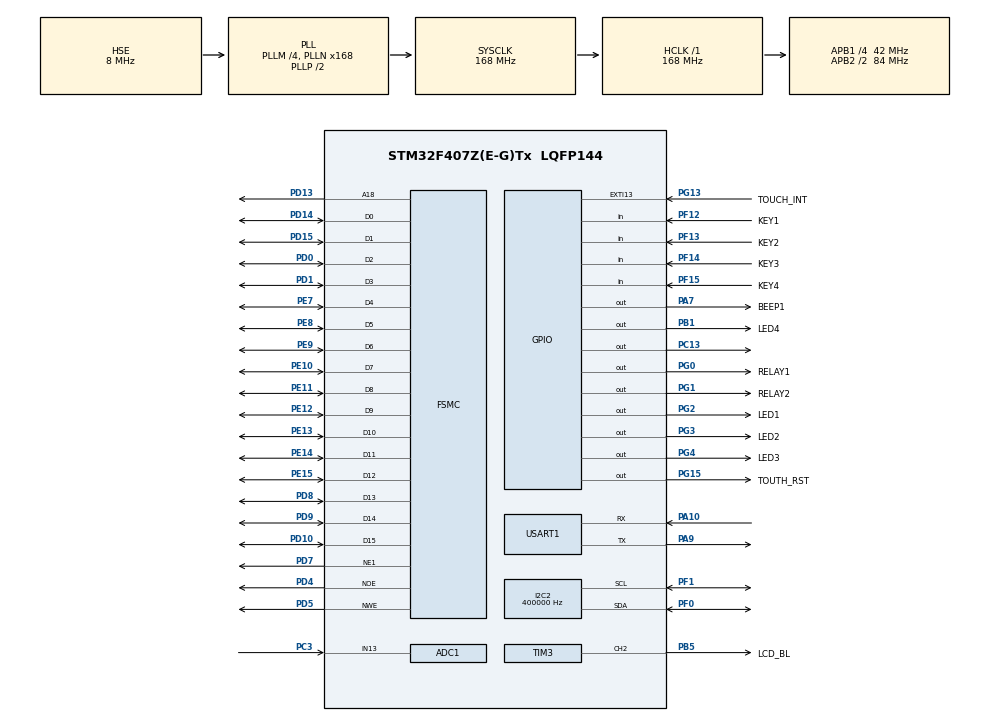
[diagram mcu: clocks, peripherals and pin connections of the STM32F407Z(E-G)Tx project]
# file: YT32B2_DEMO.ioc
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ADC1.Channel-0\#ChannelRegularConversion=ADC_CHANNEL_13
ADC1.NbrOfConversionFlag=1
ADC1.Rank-0\#ChannelRegularConversion=1
ADC1.SamplingTime-0\#ChannelRegularConversion=ADC_SAMPLETIME_3CYCLES
ADC1.master=1
Dma.Request0=USART1_RX
Dma.USART1_RX.0.Direction=DMA_PERIPH_TO_MEMORY
Dma.USART1_RX.0.FIFOMode=DMA_FIFOMODE_DISABLE
Dma.USART1_RX.0.Instance=DMA2_Stream2
Dma.USART1_RX.0.MemDataAlignment=DMA_MDATAALIGN_BYTE
Dma.USART1_RX.0.MemInc=DMA_MINC_ENABLE
Dma.USART1_RX.0.Mode=DMA_NORMAL
Dma.USART1_RX.0.PeriphDataAlignment=DMA_PDATAALIGN_BYTE
Dma.USART1_RX.0.PeriphInc=DMA_PINC_DISABLE
Dma.USART1_RX.0.Priority=DMA_PRIORITY_LOW
FSMC.BusTurnAroundDuration1=0
FSMC.DataSetupTime1=60
FSMC.ExtendedAddressSetupTime1=9
FSMC.ExtendedBusTurnAroundDuration1=0
FSMC.ExtendedDataSetupTime1=8
FSMC.ExtendedMode1=FSMC_EXTENDED_MODE_ENABLE
I2C2.ClockSpeed=400000
I2C2.I2C_Mode=I2C_Fast
Mcu.Family=STM32F4
Mcu.Name=STM32F407Z(E-G)Tx
Mcu.Package=LQFP144
NVIC.DMA2_Stream2_IRQn=true\:0\:0\:false\:false\:true\:false\:true\:true
NVIC.EXTI15_10_IRQn=true\:0\:0\:false\:false\:true\:true\:true\:true
NVIC.PriorityGroup=NVIC_PRIORITYGROUP_4
NVIC.TIM3_IRQn=true\:0\:0\:false\:false\:true\:true\:true\:true
NVIC.USART1_IRQn=true\:0\:0\:false\:false\:true\:true\:true\:true
PA10.Mode=Asynchronous
PA10.Signal=USART1_RX
PA7.GPIO_Label=BEEP1
PA7.GPIO_Speed=GPIO_SPEED_FREQ_VERY_HIGH
PA7.PinState=GPIO_PIN_SET
PA7.Signal=GPIO_Output
PA9.Mode=Asynchronous
PA9.Signal=USART1_TX
PB1.GPIO_Label=LED4
PB1.GPIO_PuPd=GPIO_PULLUP
PB1.GPIO_Speed=GPIO_SPEED_FREQ_VERY_HIGH
PB1.PinState=GPIO_PIN_SET
PB1.Signal=GPIO_Output
PB5.GPIO_Label=LCD_BL
PB5.Signal=S_TIM3_CH2
PC13-ANTI_TAMP.Signal=GPIO_Output
PC14-OSC32_IN.Mode=LSE-External-Oscillator
PC14-OSC32_IN.Signal=RCC_OSC32_IN
PC15-OSC32_OUT.Mode=LSE-External-Oscillator
PC15-OSC32_OUT.Signal=RCC_OSC32_OUT
PC3.Signal=ADCx_IN13
PD0.GPIO_PuPd=GPIO_PULLUP
PD0.Signal=FSMC_D2_DA2
PD1.GPIO_PuPd=GPIO_PULLUP
PD1.Signal=FSMC_D3_DA3
PD10.GPIO_PuPd=GPIO_PULLUP
PD10.Signal=FSMC_D15_DA15
PD13.GPIO_PuPd=GPIO_PULLUP
PD13.Signal=FSMC_A18
PD14.GPIO_PuPd=GPIO_PULLUP
PD14.Signal=FSMC_D0_DA0
PD15.GPIO_PuPd=GPIO_PULLUP
PD15.Signal=FSMC_D1_DA1
PD4.GPIO_PuPd=GPIO_PULLUP
PD4.Signal=FSMC_NOE
PD5.GPIO_PuPd=GPIO_PULLUP
PD5.Signal=FSMC_NWE
PD7.GPIO_PuPd=GPIO_PULLUP
PD7.Mode=NorPsramChipSelect1_1
PD7.Signal=FSMC_NE1
PD8.GPIO_PuPd=GPIO_PULLUP
PD8.Signal=FSMC_D13_DA13
PD9.GPIO_PuPd=GPIO_PULLUP
PD9.Signal=FSMC_D14_DA14
PE10.GPIO_PuPd=GPIO_PULLUP
PE10.Signal=FSMC_D7_DA7
PE11.GPIO_PuPd=GPIO_PULLUP
PE11.Signal=FSMC_D8_DA8
PE12.GPIO_PuPd=GPIO_PULLUP
PE12.Signal=FSMC_D9_DA9
PE13.GPIO_PuPd=GPIO_PULLUP
PE13.Signal=FSMC_D10_DA10
PE14.GPIO_PuPd=GPIO_PULLUP
PE14.Signal=FSMC_D11_DA11
PE15.GPIO_PuPd=GPIO_PULLUP
PE15.Signal=FSMC_D12_DA12
PE7.GPIO_PuPd=GPIO_PULLUP
PE7.Signal=FSMC_D4_DA4
PE8.GPIO_PuPd=GPIO_PULLUP
PE8.Signal=FSMC_D5_DA5
PE9.GPIO_PuPd=GPIO_PULLUP
PE9.Signal=FSMC_D6_DA6
PF0.Mode=I2C
PF0.Signal=I2C2_SDA
PF1.Mode=I2C
PF1.Signal=I2C2_SCL
PF12.GPIO_Label=KEY1
PF12.Signal=GPIO_Input
PF13.GPIO_Label=KEY2
PF13.GPIO_PuPd=GPIO_PULLUP
PF13.Signal=GPIO_Input
PF14.GPIO_Label=KEY3
PF14.GPIO_PuPd=GPIO_PULLUP
PF14.Signal=GPIO_Input
PF15.GPIO_Label=KEY4
PF15.GPIO_PuPd=GPIO_PULLUP
PF15.Signal=GPIO_Input
PG0.GPIO_Label=RELAY1
PG0.GPIO_ModeDefaultOutputPP=GPIO_MODE_OUTPUT_OD
PG0.GPIO_PuPd=GPIO_NOPULL
PG0.GPIO_Speed=GPIO_SPEED_FREQ_LOW
PG0.PinState=GPIO_PIN_SET
PG0.Signal=GPIO_Output
PG1.GPIO_Label=RELAY2
PG1.GPIO_ModeDefaultOutputPP=GPIO_MODE_OUTPUT_OD
PG1.GPIO_PuPd=GPIO_NOPULL
PG1.GPIO_Speed=GPIO_SPEED_FREQ_LOW
PG1.PinState=GPIO_PIN_SET
PG1.Signal=GPIO_Output
PG13.GPIO_Label=TOUCH_INT
PG13.GPIO_ModeDefaultEXTI=GPIO_MODE_IT_RISING_FALLING
PG13.GPIO_PuPd=GPIO_PULLUP
PG13.Signal=GPXTI13
PG15.GPIO_Label=TOUTH_RST
PG15.GPIO_PuPd=GPIO_PULLUP
PG15.GPIO_Speed=GPIO_SPEED_FREQ_VERY_HIGH
PG15.PinState=GPIO_PIN_SET
PG15.Signal=GPIO_Output
PG2.GPIO_Label=LED1
PG2.GPIO_PuPd=GPIO_PULLUP
PG2.GPIO_Speed=GPIO_SPEED_FREQ_VERY_HIGH
PG2.PinState=GPIO_PIN_SET
PG2.Signal=GPIO_Output
PG3.GPIO_Label=LED2
PG3.GPIO_PuPd=GPIO_PULLUP
PG3.GPIO_Speed=GPIO_SPEED_FREQ_VERY_HIGH
PG3.PinState=GPIO_PIN_SET
PG3.Signal=GPIO_Output
PG4.GPIO_Label=LED3
PG4.GPIO_PuPd=GPIO_PULLUP
PG4.GPIO_Speed=GPIO_SPEED_FREQ_VERY_HIGH
PG4.PinState=GPIO_PIN_SET
PG4.Signal=GPIO_Output
PH0-OSC_IN.Mode=HSE-External-Oscillator
PH0-OSC_IN.Signal=RCC_OSC_IN
PH1-OSC_OUT.Mode=HSE-External-Oscillator
PH1-OSC_OUT.Signal=RCC_OSC_OUT
ProjectManager.HeapSize=0x200
ProjectManager.StackSize=0x400
ProjectManager.TargetToolchain=STM32CubeIDE
RCC.48MHZClocksFreq_Value=48000000
RCC.AHBFreq_Value=168000000
RCC.APB1CLKDivider=RCC_HCLK_DIV4
RCC.APB1Freq_Value=42000000
RCC.APB1TimFreq_Value=84000000
RCC.APB2CLKDivider=RCC_HCLK_DIV2
RCC.APB2Freq_Value=84000000
RCC.APB2TimFreq_Value=168000000
RCC.CortexFreq_Value=168000000
RCC.HCLKFreq_Value=168000000
RCC.HSE_VALUE=8000000
RCC.HSI_VALUE=16000000
RCC.PLLM=4
RCC.PLLN=168
RCC.PLLQ=7
RCC.PLLSourceVirtual=RCC_PLLSOURCE_HSE
RCC.RCC_RTC_Clock_Source=RCC_RTCCLKSOURCE_LSE
RCC.RCC_RTC_Clock_SourceVirtual=RCC_RTCCLKSOURCE_LSE
RCC.SYSCLKFreq_VALUE=168000000
RCC.SYSCLKSource=RCC_SYSCLKSOURCE_PLLCLK
RCC.VCOOutputFreq_Value=336000000
SH.ADCx_IN13.0=ADC1_IN13,IN13
SH.FSMC_A18.0=FSMC_A18,A18_1
SH.FSMC_D0_DA0.0=FSMC_D0,16b-d1
SH.FSMC_D10_DA10.0=FSMC_D10,16b-d1
SH.FSMC_D11_DA11.0=FSMC_D11,16b-d1
SH.FSMC_D12_DA12.0=FSMC_D12,16b-d1
SH.FSMC_D13_DA13.0=FSMC_D13,16b-d1
SH.FSMC_D14_DA14.0=FSMC_D14,16b-d1
SH.FSMC_D15_DA15.0=FSMC_D15,16b-d1
SH.FSMC_D1_DA1.0=FSMC_D1,16b-d1
SH.FSMC_D2_DA2.0=FSMC_D2,16b-d1
SH.FSMC_D3_DA3.0=FSMC_D3,16b-d1
SH.FSMC_D4_DA4.0=FSMC_D4,16b-d1
SH.FSMC_D5_DA5.0=FSMC_D5,16b-d1
SH.FSMC_D6_DA6.0=FSMC_D6,16b-d1
SH.FSMC_D7_DA7.0=FSMC_D7,16b-d1
SH.FSMC_D8_DA8.0=FSMC_D8,16b-d1
SH.FSMC_D9_DA9.0=FSMC_D9,16b-d1
SH.FSMC_NOE.0=FSMC_NOE,Lcd1
SH.FSMC_NWE.0=FSMC_NWE,Lcd1
SH.S_TIM3_CH2.0=TIM3_CH2,PWM Generation2 CH2
TIM3.AutoReloadPreload=TIM_AUTORELOAD_PRELOAD_ENABLE
TIM3.Channel-PWM\ Generation2\ CH2=TIM_CHANNEL_2
TIM3.Period=4095
TIM3.Prescaler=83
USART1.VirtualMode=VM_ASYNC
VP_TIM3_VS_ClockSourceINT.Mode=Internal
board=custom

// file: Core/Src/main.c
/* USER CODE BEGIN Header */
/**
 ******************************************************************************
 * @file           : main.c
 * @brief          : Main program body
 ******************************************************************************
 * @attention
 *
 * Copyright (c) 2024 STMicroelectronics.
 * All rights reserved.
 *
 * This software is licensed under terms that can be found in the LICENSE file
 * in the root directory of this software component.
 * If no LICENSE file comes with this software, it is provided AS-IS.
 *
 ******************************************************************************
 */
/* USER CODE END Header */
#include "main.h"

/* USER CODE BEGIN Includes */
#include <stdlib.h> // Needed for abs()
#include <stdio.h>
#include <string.h>
#include "../../icode/delay/delay.h"
#include "../../icode/led/led.h"
#include "../../icode/key/key.h"

#include "../../icode/lcd/lcd.h"
#include "../../icode/lcd/touch.h"
#include "lvgl.h"
#include "lv_app.h"
#include "ui/ui.h"
#include "ssd1306/ssd1306.h"
#include "ssd1306/ssd1306_fonts.h"

/* USER CODE END Includes */

/* USER CODE BEGIN PTD */
#define RX_BUF_SIZE 64
uint8_t rx_buffer[RX_BUF_SIZE];
volatile uint8_t data_ready = 0;
volatile uint16_t data_length = 0;
/* USER CODE END PTD */

ADC_HandleTypeDef hadc1;

I2C_HandleTypeDef hi2c2;

TIM_HandleTypeDef htim3;

UART_HandleTypeDef huart1;
DMA_HandleTypeDef hdma_usart1_rx;

SRAM_HandleTypeDef hsram1;

void SystemClock_Config(void);
static void MX_GPIO_Init(void);
static void MX_DMA_Init(void);
static void MX_I2C2_Init(void);
static void MX_FSMC_Init(void);
static void MX_TIM3_Init(void);
static void MX_USART1_UART_Init(void);
static void MX_ADC1_Init(void);

/* USER CODE BEGIN 0 */

// In v9, we use a pointer to an lv_indev_t instead of a driver struct
static lv_indev_t *indev;
// Forward declaration
void my_touch_read(lv_indev_t *indev, lv_indev_data_t *data);

#define LM75A_ADDR  (0x4F << 1)  // Shifted for HAL (8-bit address mode)
#define LM75A_TEMP_REG 0x00
uint8_t lm75a_addr = 0; // Will be set after scan
char buffer[20];

uint32_t Read_ADC_Channel(void) {
	HAL_ADC_Start(&hadc1);
	if (HAL_ADC_PollForConversion(&hadc1, 10) == HAL_OK) {
		return HAL_ADC_GetValue(&hadc1);
	}
	return 0; // Read failed
}

void I2C_ScanAndFindLM75A(void) {
	for (uint8_t addr = 1; addr < 127; addr++) {
		if (HAL_I2C_IsDeviceReady(&hi2c2, (addr << 1), 3, 5) == HAL_OK) {
			if (addr == 0x4F) // Found LM75A
			{
				lm75a_addr = addr << 1; // Save 8-bit form for HAL
				break;
			}
		}
	}
}

float LM75A_ReadTemperature_Fine(void) {
	uint8_t temp_data[2];
	int16_t raw_temp;
	float temperature;

	if (HAL_I2C_Mem_Read(&hi2c2, lm75a_addr, LM75A_TEMP_REG,
			I2C_MEMADD_SIZE_8BIT, temp_data, 2, HAL_MAX_DELAY) != HAL_OK) {
		return -1000.0f; // Error
	}

	// Combine MSB and LSB
	raw_temp = (temp_data[0] << 8) | temp_data[1];

	// Shift right by 5 to get rid of unused bits (bits 4..0)
	raw_temp >>= 5;

	// Sign extend 11-bit signed number if needed
	if (raw_temp & 0x400) // Check sign bit (bit 10)
	{
		raw_temp |= 0xF800; // Set upper bits to 1 for negative numbers
	}

	temperature = raw_temp * 0.125f;

	return temperature;
}

#define MAX_LOG_LENGTH 512 // Set to your desired maximum character limit

// Statically allocated buffer: +1 ensures room for the null-terminator
static char log_buffer[MAX_LOG_LENGTH + 1] = {0};

void update_sliding_log(const char* new_text) {
    if (new_text == NULL) return;

    uint32_t new_len = strlen(new_text);
    uint32_t current_len = strlen(log_buffer);

    /* Edge case guard: If the incoming string alone is bigger than our
       entire buffer, only copy the very end of it. */
    if (new_len > MAX_LOG_LENGTH) {
        new_text += (new_len - MAX_LOG_LENGTH);
        new_len = MAX_LOG_LENGTH;
    }

    /* If appending this text exceeds our max length, shift old data out */
    if (current_len + new_len > MAX_LOG_LENGTH) {
        uint32_t bytes_to_drop = (current_len + new_len) - MAX_LOG_LENGTH;

        // Shift the array left, dropping the oldest 'bytes_to_drop' characters
        memmove(log_buffer, log_buffer + bytes_to_drop, current_len - bytes_to_drop);

        current_len -= bytes_to_drop; // Update our working length
    }

    /* Copy the new text into the remaining space at the end */
    strcpy(log_buffer + current_len, new_text);

    /* Update the LVGL widget in one clean sweep */
    lv_textarea_set_text(ui_TextArea1, log_buffer);

    /* Move the cursor to the end so it auto-scrolls to the newest data */
    lv_textarea_set_cursor_pos(ui_TextArea1, LV_TEXTAREA_CURSOR_LAST);
}

/* USER CODE END 0 */

int main(void)
{

	/* MCU Configuration--------------------------------------------------------*/

	/* Reset of all peripherals, Initializes the Flash interface and the Systick. */
	HAL_Init();

	/* Configure the system clock */
	SystemClock_Config();

	/* Initialize all configured peripherals */
	MX_GPIO_Init();
	MX_DMA_Init();
	MX_I2C2_Init();
	MX_FSMC_Init();
	MX_TIM3_Init();
	MX_USART1_UART_Init();
	MX_ADC1_Init();
	/* USER CODE BEGIN 2 */
	lv_init();
	// Tell LVGL to use HAL_GetTick to track time automatically  **************///*************
	lv_tick_set_cb(HAL_GetTick);
	HAL_TIM_PWM_Start(&htim3, TIM_CHANNEL_2);

	// // //

	/* USER CODE END 2 */

	/* Infinite loop */
	/* USER CODE BEGIN WHILE */

	LCD_Init();
	TOUCH_Init(); // Important: Init Touch Hardware
	//	    /* --- DISPLAY SETUP --- */
	lv_display_t *disp = lv_display_create(800, 480);
	lv_display_set_flush_cb(disp, my_disp_flush);

	//	    // Buffer size: 1/40th screen to save RAM (approx 19KB)
#define MY_BUF_SIZE (800 * 480 / 40)
	static uint16_t buf[MY_BUF_SIZE];
	lv_display_set_buffers(disp, buf, NULL, sizeof(buf),
			LV_DISPLAY_RENDER_MODE_PARTIAL);

	// 2. Setup Input (The Bridge)
	lv_indev_t *indev_touch = lv_indev_create();          // Create input device
	lv_indev_set_type(indev_touch, LV_INDEV_TYPE_POINTER); // It's a pointer (touch)
	lv_indev_set_read_cb(indev_touch, my_touch_read);      // Link your function
	lv_indev_set_display(indev_touch, disp);       // Explicitly link to display
	/* USER CODE END 2 */

	ui_init(); // This loads your SquareLine design

	ssd1306_Init();
	I2C_ScanAndFindLM75A();

	uint32_t last_oled_update = 0;
	const uint32_t OLED_REFRESH_INTERVAL = 500; // Update every 500ms (2Hz)
	static uint32_t current_brightness = 0; // Remembers the last set value
	const int THRESHOLD = 40; // The noise limit (adjust between 20-100)

	// Start listening for UART data on USART1 via DMA until the line goes IDLE
	HAL_UARTEx_ReceiveToIdle_DMA(&huart1, rx_buffer, RX_BUF_SIZE);
    #define MAX_LOG_LENGTH 500

	while (1) {
		// ==========================================================
		// 1. FAST PATH: Process Asynchronous UART Data from ROS 2
		// ==========================================================
		if (data_ready) {
		    data_ready = 0;

		    // 1. Null-terminate
		    rx_buffer[data_length] = '\0';

		    // 2. Pass to our static sliding buffer handler
		    update_sliding_log((char*)rx_buffer);
		}

		// ==========================================================
		// 2. LVGL TASK HANDLER (Must run frequently for smooth UI)
		// ==========================================================
		uint32_t time_until_next = lv_timer_handler();

		// ==========================================================
		// 3. SLOW PATH: Sensor Polling & I2C OLED (Runs every 500ms)
		// ==========================================================
		if (HAL_GetTick() - last_oled_update >= OLED_REFRESH_INTERVAL) {
			last_oled_update = HAL_GetTick();

			// Sensor Reading
			float temp = LM75A_ReadTemperature_Fine();
			uint32_t adc_val = Read_ADC_Channel();

			// --- DEADBAND FILTER ---
			// Only update the PWM if the pot moved by MORE than the threshold
			if (abs((int) adc_val - (int) current_brightness) > THRESHOLD) {
				current_brightness = adc_val; // Save the new accepted value

				// Set the new brightness
				__HAL_TIM_SET_COMPARE(&htim3, TIM_CHANNEL_2, current_brightness);
			}
			float voltage = adc_val * 3.3f / 4095.0f;

			// OLED Drawing
			ssd1306_Fill(Black);
			ssd1306_SetCursor(2, 0);

			// Note: You used manual float extraction here, which is safe.
			snprintf(buffer, sizeof(buffer), "Temp: %d.%02d C",
					(int) temp, (int) ((temp - (int) temp) * 100));
			ssd1306_WriteString(buffer, Font_7x10, White);

			ssd1306_SetCursor(2, 20);

			// Note: You used %.2f here. Ensure "Use float with printf" is enabled!
			snprintf(buffer, sizeof(buffer), "Pot: %ld (%.2fV)", adc_val, voltage);
			ssd1306_WriteString(buffer, Font_7x10, White);

			// This is the heavy hitter (I2C Transfer)
			ssd1306_UpdateScreen();
		}

		// ==========================================================
		// 4. DYNAMIC SLEEP
		// ==========================================================
		// Adjust delay so we don't starve the LVGL timer
		HAL_Delay(time_until_next > 5 ? 5 : time_until_next);

		/* USER CODE END WHILE */

	}
}

void SystemClock_Config(void)
{
	RCC_OscInitTypeDef RCC_OscInitStruct = {0};
	RCC_ClkInitTypeDef RCC_ClkInitStruct = {0};

	/** Configure the main internal regulator output voltage
	 */
	__HAL_RCC_PWR_CLK_ENABLE();
	__HAL_PWR_VOLTAGESCALING_CONFIG(PWR_REGULATOR_VOLTAGE_SCALE1);
	/** Initializes the RCC Oscillators according to the specified parameters
	 * in the RCC_OscInitTypeDef structure.
	 */
	RCC_OscInitStruct.OscillatorType = RCC_OSCILLATORTYPE_HSE;
	RCC_OscInitStruct.HSEState = RCC_HSE_ON;
	RCC_OscInitStruct.PLL.PLLState = RCC_PLL_ON;
	RCC_OscInitStruct.PLL.PLLSource = RCC_PLLSOURCE_HSE;
	RCC_OscInitStruct.PLL.PLLM = 4;
	RCC_OscInitStruct.PLL.PLLN = 168;
	RCC_OscInitStruct.PLL.PLLP = RCC_PLLP_DIV2;
	RCC_OscInitStruct.PLL.PLLQ = 7;
	if (HAL_RCC_OscConfig(&RCC_OscInitStruct) != HAL_OK)
	{
		Error_Handler();
	}
	/** Initializes the CPU, AHB and APB buses clocks
	 */
	RCC_ClkInitStruct.ClockType = RCC_CLOCKTYPE_HCLK|RCC_CLOCKTYPE_SYSCLK
			|RCC_CLOCKTYPE_PCLK1|RCC_CLOCKTYPE_PCLK2;
	RCC_ClkInitStruct.SYSCLKSource = RCC_SYSCLKSOURCE_PLLCLK;
	RCC_ClkInitStruct.AHBCLKDivider = RCC_SYSCLK_DIV1;
	RCC_ClkInitStruct.APB1CLKDivider = RCC_HCLK_DIV4;
	RCC_ClkInitStruct.APB2CLKDivider = RCC_HCLK_DIV2;

	if (HAL_RCC_ClockConfig(&RCC_ClkInitStruct, FLASH_LATENCY_5) != HAL_OK)
	{
		Error_Handler();
	}
}

static void MX_ADC1_Init(void)
{

	ADC_ChannelConfTypeDef sConfig = {0};

	/** Configure the global features of the ADC (Clock, Resolution, Data Alignment and number of conversion)
	 */
	hadc1.Instance = ADC1;
	hadc1.Init.ClockPrescaler = ADC_CLOCK_SYNC_PCLK_DIV4;
	hadc1.Init.Resolution = ADC_RESOLUTION_12B;
	hadc1.Init.ScanConvMode = DISABLE;
	hadc1.Init.ContinuousConvMode = DISABLE;
	hadc1.Init.DiscontinuousConvMode = DISABLE;
	hadc1.Init.ExternalTrigConvEdge = ADC_EXTERNALTRIGCONVEDGE_NONE;
	hadc1.Init.ExternalTrigConv = ADC_SOFTWARE_START;
	hadc1.Init.DataAlign = ADC_DATAALIGN_RIGHT;
	hadc1.Init.NbrOfConversion = 1;
	hadc1.Init.DMAContinuousRequests = DISABLE;
	hadc1.Init.EOCSelection = ADC_EOC_SINGLE_CONV;
	if (HAL_ADC_Init(&hadc1) != HAL_OK)
	{
		Error_Handler();
	}
	/** Configure for the selected ADC regular channel its corresponding rank in the sequencer and its sample time.
	 */
	sConfig.Channel = ADC_CHANNEL_13;
	sConfig.Rank = 1;
	sConfig.SamplingTime = ADC_SAMPLETIME_3CYCLES;
	if (HAL_ADC_ConfigChannel(&hadc1, &sConfig) != HAL_OK)
	{
		Error_Handler();
	}

}

static void MX_I2C2_Init(void)
{

	hi2c2.Instance = I2C2;
	hi2c2.Init.ClockSpeed = 400000;
	hi2c2.Init.DutyCycle = I2C_DUTYCYCLE_2;
	hi2c2.Init.OwnAddress1 = 0;
	hi2c2.Init.AddressingMode = I2C_ADDRESSINGMODE_7BIT;
	hi2c2.Init.DualAddressMode = I2C_DUALADDRESS_DISABLE;
	hi2c2.Init.OwnAddress2 = 0;
	hi2c2.Init.GeneralCallMode = I2C_GENERALCALL_DISABLE;
	hi2c2.Init.NoStretchMode = I2C_NOSTRETCH_DISABLE;
	if (HAL_I2C_Init(&hi2c2) != HAL_OK)
	{
		Error_Handler();
	}

}

static void MX_TIM3_Init(void)
{

	TIM_ClockConfigTypeDef sClockSourceConfig = {0};
	TIM_MasterConfigTypeDef sMasterConfig = {0};
	TIM_OC_InitTypeDef sConfigOC = {0};

	htim3.Instance = TIM3;
	htim3.Init.Prescaler = 83;
	htim3.Init.CounterMode = TIM_COUNTERMODE_UP;
	htim3.Init.Period = 4095;
	htim3.Init.ClockDivision = TIM_CLOCKDIVISION_DIV1;
	htim3.Init.AutoReloadPreload = TIM_AUTORELOAD_PRELOAD_ENABLE;
	if (HAL_TIM_Base_Init(&htim3) != HAL_OK)
	{
		Error_Handler();
	}
	sClockSourceConfig.ClockSource = TIM_CLOCKSOURCE_INTERNAL;
	if (HAL_TIM_ConfigClockSource(&htim3, &sClockSourceConfig) != HAL_OK)
	{
		Error_Handler();
	}
	if (HAL_TIM_PWM_Init(&htim3) != HAL_OK)
	{
		Error_Handler();
	}
	sMasterConfig.MasterOutputTrigger = TIM_TRGO_RESET;
	sMasterConfig.MasterSlaveMode = TIM_MASTERSLAVEMODE_DISABLE;
	if (HAL_TIMEx_MasterConfigSynchronization(&htim3, &sMasterConfig) != HAL_OK)
	{
		Error_Handler();
	}
	sConfigOC.OCMode = TIM_OCMODE_PWM1;
	sConfigOC.Pulse = 0;
	sConfigOC.OCPolarity = TIM_OCPOLARITY_HIGH;
	sConfigOC.OCFastMode = TIM_OCFAST_DISABLE;
	if (HAL_TIM_PWM_ConfigChannel(&htim3, &sConfigOC, TIM_CHANNEL_2) != HAL_OK)
	{
		Error_Handler();
	}
	HAL_TIM_MspPostInit(&htim3);

}

static void MX_USART1_UART_Init(void)
{

	huart1.Instance = USART1;
	huart1.Init.BaudRate = 115200;
	huart1.Init.WordLength = UART_WORDLENGTH_8B;
	huart1.Init.StopBits = UART_STOPBITS_1;
	huart1.Init.Parity = UART_PARITY_NONE;
	huart1.Init.Mode = UART_MODE_TX_RX;
	huart1.Init.HwFlowCtl = UART_HWCONTROL_NONE;
	huart1.Init.OverSampling = UART_OVERSAMPLING_16;
	if (HAL_UART_Init(&huart1) != HAL_OK)
	{
		Error_Handler();
	}

}

static void MX_DMA_Init(void)
{

	/* DMA controller clock enable */
	__HAL_RCC_DMA2_CLK_ENABLE();

	/* DMA interrupt init */
	/* DMA2_Stream2_IRQn interrupt configuration */
	HAL_NVIC_SetPriority(DMA2_Stream2_IRQn, 0, 0);
	HAL_NVIC_EnableIRQ(DMA2_Stream2_IRQn);

}

static void MX_GPIO_Init(void)
{
	GPIO_InitTypeDef GPIO_InitStruct = {0};

	/* GPIO Ports Clock Enable */
	__HAL_RCC_GPIOC_CLK_ENABLE();
	__HAL_RCC_GPIOF_CLK_ENABLE();
	__HAL_RCC_GPIOH_CLK_ENABLE();
	__HAL_RCC_GPIOA_CLK_ENABLE();
	__HAL_RCC_GPIOB_CLK_ENABLE();
	__HAL_RCC_GPIOG_CLK_ENABLE();
	__HAL_RCC_GPIOE_CLK_ENABLE();
	__HAL_RCC_GPIOD_CLK_ENABLE();

	/*Configure GPIO pin Output Level */
	HAL_GPIO_WritePin(GPIOC, GPIO_PIN_13, GPIO_PIN_RESET);

	/*Configure GPIO pin Output Level */
	HAL_GPIO_WritePin(BEEP1_GPIO_Port, BEEP1_Pin, GPIO_PIN_SET);

	/*Configure GPIO pin Output Level */
	HAL_GPIO_WritePin(LED4_GPIO_Port, LED4_Pin, GPIO_PIN_SET);

	/*Configure GPIO pin Output Level */
	HAL_GPIO_WritePin(GPIOG, RELAY1_Pin|RELAY2_Pin|LED1_Pin|LED2_Pin
			|LED3_Pin|TOUTH_RST_Pin, GPIO_PIN_SET);

	/*Configure GPIO pin : PC13 */
	GPIO_InitStruct.Pin = GPIO_PIN_13;
	GPIO_InitStruct.Mode = GPIO_MODE_OUTPUT_PP;
	GPIO_InitStruct.Pull = GPIO_NOPULL;
	GPIO_InitStruct.Speed = GPIO_SPEED_FREQ_LOW;
	HAL_GPIO_Init(GPIOC, &GPIO_InitStruct);

	/*Configure GPIO pin : BEEP1_Pin */
	GPIO_InitStruct.Pin = BEEP1_Pin;
	GPIO_InitStruct.Mode = GPIO_MODE_OUTPUT_PP;
	GPIO_InitStruct.Pull = GPIO_NOPULL;
	GPIO_InitStruct.Speed = GPIO_SPEED_FREQ_VERY_HIGH;
	HAL_GPIO_Init(BEEP1_GPIO_Port, &GPIO_InitStruct);

	/*Configure GPIO pin : LED4_Pin */
	GPIO_InitStruct.Pin = LED4_Pin;
	GPIO_InitStruct.Mode = GPIO_MODE_OUTPUT_PP;
	GPIO_InitStruct.Pull = GPIO_PULLUP;
	GPIO_InitStruct.Speed = GPIO_SPEED_FREQ_VERY_HIGH;
	HAL_GPIO_Init(LED4_GPIO_Port, &GPIO_InitStruct);

	/*Configure GPIO pin : KEY1_Pin */
	GPIO_InitStruct.Pin = KEY1_Pin;
	GPIO_InitStruct.Mode = GPIO_MODE_INPUT;
	GPIO_InitStruct.Pull = GPIO_NOPULL;
	HAL_GPIO_Init(KEY1_GPIO_Port, &GPIO_InitStruct);

	/*Configure GPIO pins : KEY2_Pin KEY3_Pin KEY4_Pin */
	GPIO_InitStruct.Pin = KEY2_Pin|KEY3_Pin|KEY4_Pin;
	GPIO_InitStruct.Mode = GPIO_MODE_INPUT;
	GPIO_InitStruct.Pull = GPIO_PULLUP;
	HAL_GPIO_Init(GPIOF, &GPIO_InitStruct);

	/*Configure GPIO pins : RELAY1_Pin RELAY2_Pin */
	GPIO_InitStruct.Pin = RELAY1_Pin|RELAY2_Pin;
	GPIO_InitStruct.Mode = GPIO_MODE_OUTPUT_OD;
	GPIO_InitStruct.Pull = GPIO_NOPULL;
	GPIO_InitStruct.Speed = GPIO_SPEED_FREQ_LOW;
	HAL_GPIO_Init(GPIOG, &GPIO_InitStruct);

	/*Configure GPIO pins : LED1_Pin LED2_Pin LED3_Pin TOUTH_RST_Pin */
	GPIO_InitStruct.Pin = LED1_Pin|LED2_Pin|LED3_Pin|TOUTH_RST_Pin;
	GPIO_InitStruct.Mode = GPIO_MODE_OUTPUT_PP;
	GPIO_InitStruct.Pull = GPIO_PULLUP;
	GPIO_InitStruct.Speed = GPIO_SPEED_FREQ_VERY_HIGH;
	HAL_GPIO_Init(GPIOG, &GPIO_InitStruct);

	/*Configure GPIO pin : TOUCH_INT_Pin */
	GPIO_InitStruct.Pin = TOUCH_INT_Pin;
	GPIO_InitStruct.Mode = GPIO_MODE_IT_RISING_FALLING;
	GPIO_InitStruct.Pull = GPIO_PULLUP;
	HAL_GPIO_Init(TOUCH_INT_GPIO_Port, &GPIO_InitStruct);

	/* EXTI interrupt init*/
	HAL_NVIC_SetPriority(EXTI15_10_IRQn, 0, 0);
	HAL_NVIC_EnableIRQ(EXTI15_10_IRQn);

}

/* FSMC initialization function */
static void MX_FSMC_Init(void)
{

	FSMC_NORSRAM_TimingTypeDef Timing = {0};
	FSMC_NORSRAM_TimingTypeDef ExtTiming = {0};

	/** Perform the SRAM1 memory initialization sequence
	 */
	hsram1.Instance = FSMC_NORSRAM_DEVICE;
	hsram1.Extended = FSMC_NORSRAM_EXTENDED_DEVICE;
	/* hsram1.Init */
	hsram1.Init.NSBank = FSMC_NORSRAM_BANK1;
	hsram1.Init.DataAddressMux = FSMC_DATA_ADDRESS_MUX_DISABLE;
	hsram1.Init.MemoryType = FSMC_MEMORY_TYPE_SRAM;
	hsram1.Init.MemoryDataWidth = FSMC_NORSRAM_MEM_BUS_WIDTH_16;
	hsram1.Init.BurstAccessMode = FSMC_BURST_ACCESS_MODE_DISABLE;
	hsram1.Init.WaitSignalPolarity = FSMC_WAIT_SIGNAL_POLARITY_LOW;
	hsram1.Init.WrapMode = FSMC_WRAP_MODE_DISABLE;
	hsram1.Init.WaitSignalActive = FSMC_WAIT_TIMING_BEFORE_WS;
	hsram1.Init.WriteOperation = FSMC_WRITE_OPERATION_ENABLE;
	hsram1.Init.WaitSignal = FSMC_WAIT_SIGNAL_DISABLE;
	hsram1.Init.ExtendedMode = FSMC_EXTENDED_MODE_ENABLE;
	hsram1.Init.AsynchronousWait = FSMC_ASYNCHRONOUS_WAIT_DISABLE;
	hsram1.Init.WriteBurst = FSMC_WRITE_BURST_DISABLE;
	hsram1.Init.PageSize = FSMC_PAGE_SIZE_NONE;
	/* Timing */
	Timing.AddressSetupTime = 15;
	Timing.AddressHoldTime = 15;
	Timing.DataSetupTime = 60;
	Timing.BusTurnAroundDuration = 0;
	Timing.CLKDivision = 16;
	Timing.DataLatency = 17;
	Timing.AccessMode = FSMC_ACCESS_MODE_A;
	/* ExtTiming */
	ExtTiming.AddressSetupTime = 9;
	ExtTiming.AddressHoldTime = 15;
	ExtTiming.DataSetupTime = 8;
	ExtTiming.BusTurnAroundDuration = 0;
	ExtTiming.CLKDivision = 16;
	ExtTiming.DataLatency = 17;
	ExtTiming.AccessMode = FSMC_ACCESS_MODE_A;

	if (HAL_SRAM_Init(&hsram1, &Timing, &ExtTiming) != HAL_OK)
	{
		Error_Handler( );
	}

}

/* USER CODE BEGIN 4 */
// Dummy functions to satisfy the linker for printf floats
__attribute__((weak)) int _kill(int pid, int sig) {
	return -1;
}

__attribute__((weak)) int _getpid(void) {
	return 1;
}

void HAL_UARTEx_RxEventCallback(UART_HandleTypeDef *huart, uint16_t Size)
{
	// Ensure we are processing the interrupt for USART1
	if (huart->Instance == USART1)
	{
		// Toggle the LED on PG2 to physically verify the interrupt fired
		HAL_GPIO_TogglePin(LED1_GPIO_Port, LED1_Pin);

		data_ready = 1;
		data_length = Size;

		// Restart the DMA reception for USART1
		HAL_UARTEx_ReceiveToIdle_DMA(&huart1, rx_buffer, RX_BUF_SIZE);
	}
}

void HAL_UART_ErrorCallback(UART_HandleTypeDef *huart)
{
	if (huart->Instance == USART1)
	{
		// 1. Clear the error flags (the HAL usually does this, but we ensure it)
		__HAL_UART_CLEAR_OREFLAG(huart);
		__HAL_UART_CLEAR_FEFLAG(huart);
		__HAL_UART_CLEAR_NEFLAG(huart);

		// 2. Abort any broken ongoing transfers
		HAL_UART_AbortReceive(huart);

		// 3. Restart the DMA reception
		HAL_UARTEx_ReceiveToIdle_DMA(&huart1, rx_buffer, RX_BUF_SIZE);
	}
}

/* USER CODE END 4 */

void Error_Handler(void)
{
	__disable_irq();
	while (1) {
	}
}
